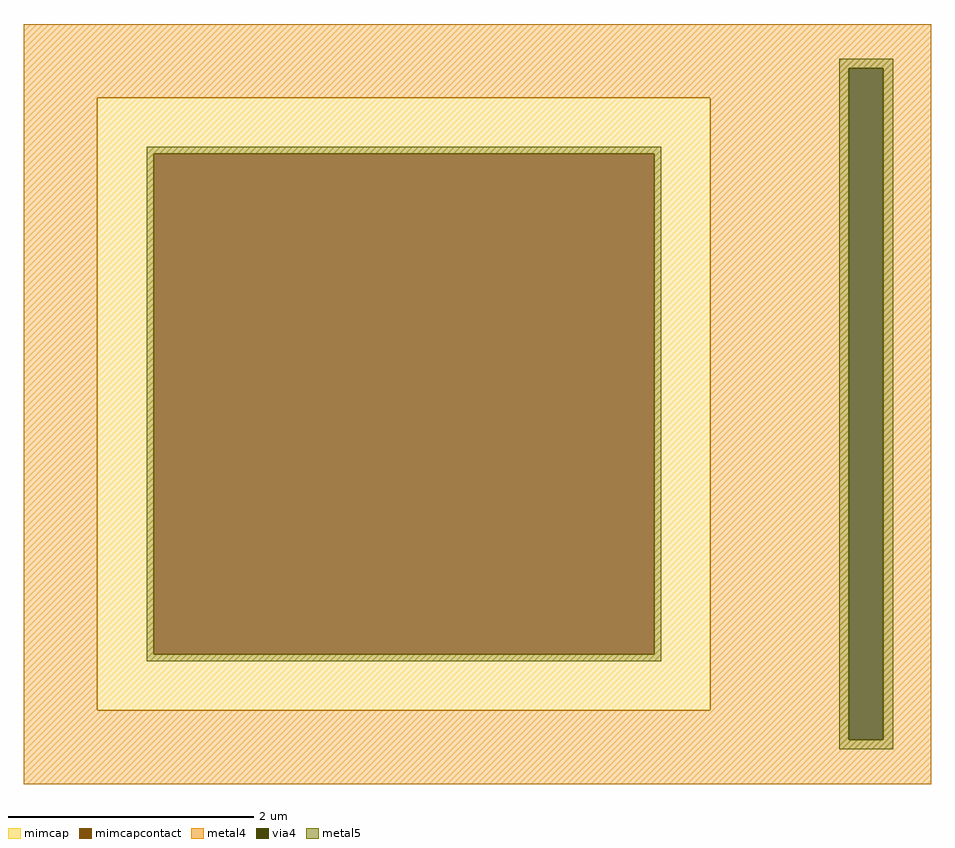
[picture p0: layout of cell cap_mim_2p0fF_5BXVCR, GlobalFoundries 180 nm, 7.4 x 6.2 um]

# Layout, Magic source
magic
tech gf180mcuD
magscale 1 10
<< mimcap >>
rect -620 408 380 500
rect -620 -408 -528 408
rect 288 -408 380 408
rect -620 -500 380 -408
<< mimcapcontact >>
rect -528 -408 288 408
<< metal4 >>
rect -740 548 740 620
rect -740 500 606 548
rect -740 -500 -620 500
rect 380 -500 606 500
rect -740 -548 606 -500
rect 662 -548 740 548
rect -740 -620 740 -548
<< via4 >>
rect 606 -548 662 548
<< metal5 >>
rect 590 548 678 563
rect -540 408 300 420
rect -540 -408 -528 408
rect 288 -408 300 408
rect -540 -420 300 -408
rect 590 -548 606 548
rect 662 -548 678 548
rect 590 -563 678 -548
<< properties >>
string FIXED_BBOX -740 -620 500 620
<< end >>
